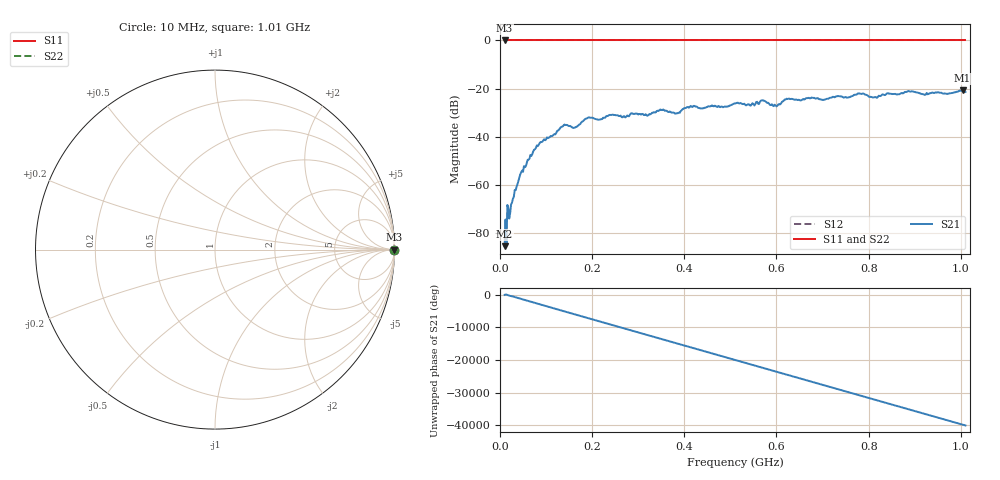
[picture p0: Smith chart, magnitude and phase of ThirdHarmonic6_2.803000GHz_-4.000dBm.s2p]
! 8/17/2025 7:18:52 AM
! C:\ANRITSUVNA\TEMP\TEMP.S2P
! CHANNEL.1
! TR.MEASUREMENT
! RAW.DATA
! RF.CORRECTION.OFF
! AVERAGING.OFF
! IF.BANDWIDTH: 5KHZ
! SWEEPTYPE:  FREQ.SWEEP(Linear)
! Reference Plane Port Info
! PORT:  PORT1  PORT2
! DISTANCE:  0  m  0  m
! TIME:  0  s  0  s
! PHASE.OFFSET:  0  deg.  0  deg.
! LOSS:  0  dB  0  dB
! REF.LOSS:  0  dB  0  dB
! REF.FREQ:  0  Hz  0  Hz
! Power Info
! POWER:  -20  dBm  -20  dBm
! EFF.POWER:  -20  dBm  -20  dBm
! SOURCE.ATTEN:  0  dB  0  dB
! TEST.ATTEN:  0  dB  0  dB
# GHZ S RI R 50.0
! FREQ.GHZ  S11RE  S11IM  S21RE  S21IM  S12RE  S12IM  S22RE  S22IM
!; PortSelection: Port_12
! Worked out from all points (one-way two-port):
!   501 points, 10 MHz to 1.01 GHz, reference 50 ohm
!   highest |S21| = -20.73 dB at 1.004 GHz (marker M1); lowest = -85.3 dB at 10 MHz (marker M2)
!   lowest |S11| = 0.0 dB at 10 MHz (marker M3)
!   |S11| at or under -10 dB: nowhere
!   |S22| runs from 0.0 to 0.0 dB; largest |S21 - S12| = 1.1
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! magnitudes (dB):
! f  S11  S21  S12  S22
! 10 MHz  0.0  -85.3  0.0  0.0
! 20 MHz  0.0  -73.8  0.0  0.0
! 24 MHz  0.0  -68.0  0.0  0.0
! 44 MHz  0.0  -55.5  0.0  0.0
! 76 MHz  0.0  -45.1  0.0  0.0
! 136 MHz  0.0  -35.6  0.0  0.0
! 162 MHz  0.0  -36.2  0.0  0.0
! 178 MHz  0.0  -33.7  0.0  0.0
! 194 MHz  0.0  -31.9  0.0  0.0
! 322 MHz  0.0  -30.9  0.0  0.0
! 344 MHz  0.0  -29.2  0.0  0.0
! 384 MHz  0.0  -30.2  0.0  0.0
! 410 MHz  0.0  -27.9  0.0  0.0
! 510 MHz  0.0  -26.1  0.0  0.0
! 570 MHz  0.0  -24.7  0.0  0.0
! 598 MHz  0.0  -27.0  0.0  0.0
! 622 MHz  0.0  -24.1  0.0  0.0
! 678 MHz  0.0  -23.8  0.0  0.0
! 814 MHz  0.0  -23.5  0.0  0.0
! 844 MHz  0.0  -22.0  0.0  0.0
! 1.004 GHz  0.0  -20.7  0.0  0.0
! 1.01 GHz  0.0  -21.4  0.0  0.0
